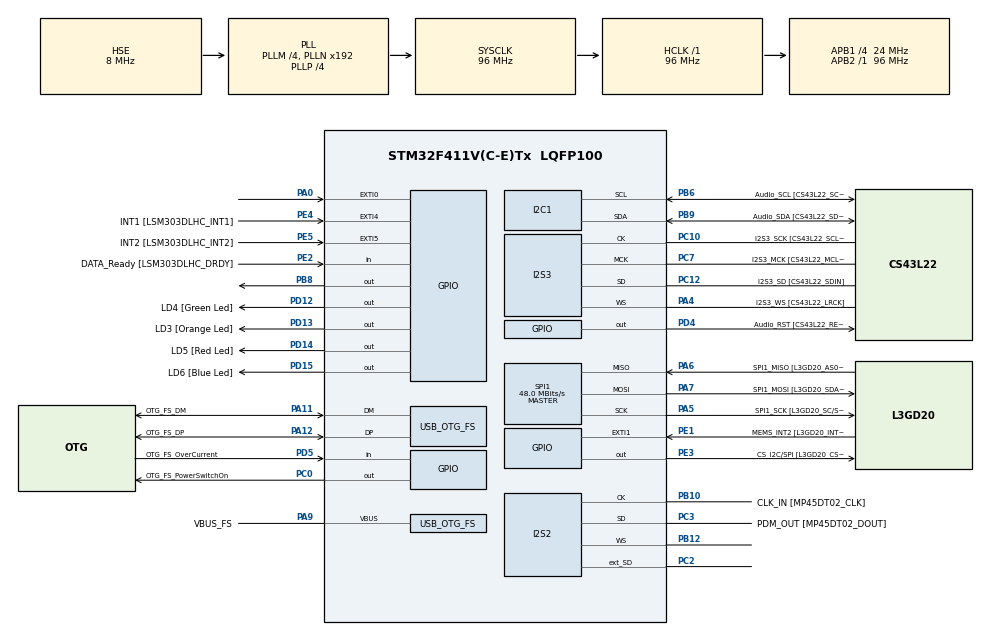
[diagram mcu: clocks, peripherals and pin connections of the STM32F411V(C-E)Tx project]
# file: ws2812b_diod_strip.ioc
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I2S2.AudioFreq=I2S_AUDIOFREQ_96K
I2S2.ErrorAudioFreq=0.15 %
I2S2.FullDuplexMode=I2S_FULLDUPLEXMODE_ENABLE
I2S2.Instance=SPI$Index
I2S2.RealAudioFreq=96.153 KHz
I2S2.VirtualMode=I2S_MODE_MASTER
I2S3.AudioFreq=I2S_AUDIOFREQ_96K
I2S3.ErrorAudioFreq=-6.99 %
I2S3.FullDuplexMode=I2S_FULLDUPLEXMODE_DISABLE
I2S3.Instance=SPI$Index
I2S3.RealAudioFreq=89.285 KHz
I2S3.VirtualMode=I2S_MODE_MASTER
Mcu.Family=STM32F4
Mcu.Name=STM32F411V(C-E)Tx
Mcu.Package=LQFP100
NVIC.OTG_FS_IRQn=true\:0\:0\:false\:false\:true\:true\:true
NVIC.PriorityGroup=NVIC_PRIORITYGROUP_0
PA0-WKUP.GPIO_ModeDefaultEXTI=GPIO_MODE_EVT_RISING
PA0-WKUP.Signal=GPXTI0
PA10.GPIO_Label=OTG_FS_ID
PA10.Signal=USB_OTG_FS_ID
PA11.GPIO_Label=OTG_FS_DM
PA11.Mode=Host_Only
PA11.Signal=USB_OTG_FS_DM
PA12.GPIO_Label=OTG_FS_DP
PA12.Mode=Host_Only
PA12.Signal=USB_OTG_FS_DP
PA13.GPIO_Label=SWDIO
PA13.Mode=Serial_Wire
PA13.Signal=SYS_JTMS-SWDIO
PA14.GPIO_Label=SWCLK
PA14.Mode=Serial_Wire
PA14.Signal=SYS_JTCK-SWCLK
PA4.GPIO_Label=I2S3_WS [CS43L22_LRCK]
PA4.GPIO_Mode=GPIO_MODE_AF_PP
PA4.GPIO_PuPd=GPIO_NOPULL
PA4.GPIO_Speed=GPIO_SPEED_FREQ_LOW
PA4.Mode=Half_Duplex_Master
PA4.Signal=I2S3_WS
PA5.GPIO_Label=SPI1_SCK [L3GD20_SC/SPC]
PA5.Mode=Full_Duplex_Master
PA5.Signal=SPI1_SCK
PA6.GPIO_Label=SPI1_MISO [L3GD20_AS0/SDO]
PA6.Mode=Full_Duplex_Master
PA6.Signal=SPI1_MISO
PA7.GPIO_Label=SPI1_MOSI [L3GD20_SDA/SDI/SDO]
PA7.Mode=Full_Duplex_Master
PA7.Signal=SPI1_MOSI
PA9.GPIO_Label=VBUS_FS
PA9.Mode=Activate_VBUS
PA9.Signal=USB_OTG_FS_VBUS
PB10.GPIO_Label=CLK_IN [MP45DT02_CLK]
PB10.Mode=Full_Duplex_Master
PB10.Signal=I2S2_CK
PB12.Mode=Full_Duplex_Master
PB12.Signal=I2S2_WS
PB3.GPIO_Label=SWO
PB3.Signal=SYS_JTDO-SWO
PB6.GPIO_Label=Audio_SCL [CS43L22_SCL]
PB6.GPIO_Mode=GPIO_MODE_AF_OD
PB6.GPIO_PuPd=GPIO_NOPULL
PB6.GPIO_Speed=GPIO_SPEED_FREQ_LOW
PB6.Mode=I2C
PB6.Signal=I2C1_SCL
PB8.Signal=GPIO_Output
PB9.GPIO_Label=Audio_SDA [CS43L22_SDA]
PB9.GPIO_Mode=GPIO_MODE_AF_OD
PB9.GPIO_PuPd=GPIO_NOPULL
PB9.GPIO_Speed=GPIO_SPEED_FREQ_LOW
PB9.Mode=I2C
PB9.Signal=I2C1_SDA
PC0.GPIO_Label=OTG_FS_PowerSwitchOn
PC0.PinState=GPIO_PIN_SET
PC0.Signal=GPIO_Output
PC10.GPIO_Label=I2S3_SCK [CS43L22_SCLK]
PC10.GPIO_Mode=GPIO_MODE_AF_PP
PC10.GPIO_PuPd=GPIO_NOPULL
PC10.GPIO_Speed=GPIO_SPEED_FREQ_LOW
PC10.Mode=Half_Duplex_Master
PC10.Signal=I2S3_CK
PC12.GPIO_Label=I2S3_SD [CS43L22_SDIN]
PC12.GPIO_Mode=GPIO_MODE_AF_PP
PC12.GPIO_PuPd=GPIO_NOPULL
PC12.GPIO_Speed=GPIO_SPEED_FREQ_LOW
PC12.Mode=Half_Duplex_Master
PC12.Signal=I2S3_SD
PC14-OSC32_IN.GPIO_Label=PC14-OSC32_IN
PC14-OSC32_IN.Mode=LSE-External-Oscillator
PC14-OSC32_IN.Signal=RCC_OSC32_IN
PC15-OSC32_OUT.GPIO_Label=PC15-OSC32_OUT
PC15-OSC32_OUT.Mode=LSE-External-Oscillator
PC15-OSC32_OUT.Signal=RCC_OSC32_OUT
PC2.Mode=Full_Duplex_Master
PC2.Signal=I2S2_ext_SD
PC3.GPIO_Label=PDM_OUT [MP45DT02_DOUT]
PC3.Mode=Full_Duplex_Master
PC3.Signal=I2S2_SD
PC7.GPIO_Label=I2S3_MCK [CS43L22_MCLK]
PC7.GPIO_Mode=GPIO_MODE_AF_PP
PC7.GPIO_PuPd=GPIO_NOPULL
PC7.GPIO_Speed=GPIO_SPEED_FREQ_LOW
PC7.Mode=Master_Clock_Activated
PC7.Signal=I2S3_MCK
PD12.GPIO_Label=LD4 [Green Led]
PD12.GPIO_PuPd=GPIO_NOPULL
PD12.GPIO_Speed=GPIO_SPEED_FREQ_LOW
PD12.Signal=GPIO_Output
PD13.GPIO_Label=LD3 [Orange Led]
PD13.GPIO_PuPd=GPIO_NOPULL
PD13.GPIO_Speed=GPIO_SPEED_FREQ_LOW
PD13.Signal=GPIO_Output
PD14.GPIO_Label=LD5 [Red Led]
PD14.GPIO_PuPd=GPIO_NOPULL
PD14.GPIO_Speed=GPIO_SPEED_FREQ_LOW
PD14.Signal=GPIO_Output
PD15.GPIO_Label=LD6 [Blue Led]
PD15.GPIO_PuPd=GPIO_NOPULL
PD15.GPIO_Speed=GPIO_SPEED_FREQ_LOW
PD15.Signal=GPIO_Output
PD4.GPIO_Label=Audio_RST [CS43L22_RESET]
PD4.Signal=GPIO_Output
PD5.GPIO_Label=OTG_FS_OverCurrent
PD5.Signal=GPIO_Input
PE1.GPIO_Label=MEMS_INT2 [L3GD20_INT2]
PE1.GPIO_ModeDefaultEXTI=GPIO_MODE_EVT_RISING
PE1.Signal=GPXTI1
PE2.GPIO_Label=DATA_Ready [LSM303DLHC_DRDY]
PE2.Signal=GPIO_Input
PE3.GPIO_Label=CS_I2C/SPI [L3GD20_CS_I2C/SPI]
PE3.Signal=GPIO_Output
PE4.GPIO_Label=INT1 [LSM303DLHC_INT1]
PE4.GPIO_ModeDefaultEXTI=GPIO_MODE_EVT_RISING
PE4.Signal=GPXTI4
PE5.GPIO_Label=INT2 [LSM303DLHC_INT2]
PE5.GPIO_ModeDefaultEXTI=GPIO_MODE_EVT_RISING
PE5.Signal=GPXTI5
PH0\ -\ OSC_IN.GPIO_Label=PH0-OSC_IN
PH0\ -\ OSC_IN.Mode=HSE-External-Oscillator
PH0\ -\ OSC_IN.Signal=RCC_OSC_IN
PH1\ -\ OSC_OUT.GPIO_Label=PH1-OSC_OUT
PH1\ -\ OSC_OUT.Mode=HSE-External-Oscillator
PH1\ -\ OSC_OUT.Signal=RCC_OSC_OUT
ProjectManager.HeapSize=0x200
ProjectManager.StackSize=0x400
ProjectManager.TargetToolchain=SW4STM32
RCC.48MHZClocksFreq_Value=48000000
RCC.AHBFreq_Value=96000000
RCC.APB1CLKDivider=RCC_HCLK_DIV4
RCC.APB1Freq_Value=24000000
RCC.APB1TimFreq_Value=48000000
RCC.APB2Freq_Value=96000000
RCC.APB2TimFreq_Value=96000000
RCC.CortexFreq_Value=96000000
RCC.HCLKFreq_Value=96000000
RCC.HSE_VALUE=8000000
RCC.HSI_VALUE=16000000
RCC.PLLI2SM=5
RCC.PLLI2SN=200
RCC.PLLM=4
RCC.PLLP=RCC_PLLP_DIV4
RCC.PLLQ=8
RCC.SYSCLKFreq_VALUE=96000000
RCC.SYSCLKSource=RCC_SYSCLKSOURCE_PLLCLK
RCC.VCOOutputFreq_Value=384000000
SPI1.BaudRatePrescaler=SPI_BAUDRATEPRESCALER_2
SPI1.CalculateBaudRate=48.0 MBits/s
SPI1.Direction=SPI_DIRECTION_2LINES
SPI1.Mode=SPI_MODE_MASTER
SPI1.VirtualType=VM_MASTER
USB_HOST.BSP.number=1
USB_HOST.USBH_HandleTypeDef=hUsbHostFS
USB_HOST.VirtualModeFS=Cdc
USB_HOST0.BSP.STBoard=false
USB_HOST0.BSP.api=Unknown
USB_HOST0.BSP.i2caddr=0
USB_HOST0.BSP.i2creg=0
USB_HOST0.BSP.instance=PC0
USB_HOST0.BSP.ip=GPIO
USB_HOST0.BSP.mode=Output
USB_HOST0.BSP.name=Drive_VBUS_FS
USB_HOST0.BSP.solution=PC0
USB_OTG_FS.VirtualMode=Host_Only
USB_OTG_FS.phy_itface=HCD_PHY_EMBEDDED
VP_USB_HOST_VS_USB_HOST_CDC_FS.Mode=CDC_FS
board=STM32F411E-DISCO

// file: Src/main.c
/**
  ******************************************************************************
  * @file           : main.c
  * @brief          : Main program body
  ******************************************************************************
  * @attention
  *
  * <h2><center>&copy; Copyright (c) 2019 STMicroelectronics.
  * All rights reserved.</center></h2>
  *
  * This software component is licensed by ST under Ultimate Liberty license
  * SLA0044, the "License"; You may not use this file except in compliance with
  * the License. You may obtain a copy of the License at:
  *                             www.st.com/SLA0044
  *
  ******************************************************************************
  */
/* USER CODE END Header */

#include "main.h"
#include "i2c.h"
#include "i2s.h"
#include "spi.h"
#include "usb_host.h"
#include "gpio.h"

/* USER CODE BEGIN Includes */
#include "stdlib.h"
#include "stm32f4xx_hal.h"
#include "../Drivers/STM32F4Discovery/Inc/stm32f411e_discovery_accelerometer.h"
/* USER CODE END Includes */

void SystemClock_Config(void);
void MX_USB_HOST_Process(void);

int main(void)
{
  /* USER CODE BEGIN 1 */
	 extern void initialise_monitor_handles(void);
	 initialise_monitor_handles();
  /* USER CODE END 1 */

  /* MCU Configuration--------------------------------------------------------*/

  /* Reset of all peripherals, Initializes the Flash interface and the Systick. */
  HAL_Init();

  /* Configure the system clock */
  SystemClock_Config();

  /* Initialize all configured peripherals */
  MX_GPIO_Init();
  MX_I2C1_Init();
  MX_I2S2_Init();
  MX_I2S3_Init();
  MX_SPI1_Init();
  MX_USB_HOST_Init();
  /* USER CODE BEGIN 2 */

  volatile uint8_t err_res = BSP_ACCELERO_Init();
    if (err_res != HAL_OK)
    {
      HAL_GPIO_WritePin(GPIOD, GPIO_PIN_14, SET);
      /* Initialization Error */
      while(1){
      }
    }
    void delay_asm(uint32_t useconds) {
    	asm volatile("   mov r0, %[useconds]    \n"
    			"1: subs r0, #1            \n"
    			"   bhi 1b                 \n": :[useconds] "r" (useconds): "r0");
    }

    inline void send_byte(int a) {
    	for (int i = 7; i >= 0; i--) {
    		int x = (a >> i) & 1;
    		if (x == 1) {
    			GPIOB->BSRR = GPIO_PIN_8;
    			delay_asm(20); //high_delay
    			GPIOB->BSRR = (uint32_t) GPIO_PIN_8 << 16U;
    			delay_asm(10); //low delay
    		} else {
    			GPIOB->BSRR = GPIO_PIN_8;
    			delay_asm(10); //low delay
    			GPIOB->BSRR = (uint32_t) GPIO_PIN_8 << 16U;
    			delay_asm(20);//high_delay

    		}
    	}
    }

  /* USER CODE END 2 */

  /* Infinite loop */
  /* USER CODE BEGIN WHILE */
    int16_t buffer[3] = {0};
    int16_t prev_buffer[3] = {0};
    BSP_ACCELERO_GetXYZ(prev_buffer);
    int shaking = 0;
    int change = 0;
    while (1)
    {
     BSP_ACCELERO_GetXYZ(buffer);
     if (abs(buffer[0] - prev_buffer[0]) > 2500 || abs(buffer[1] - prev_buffer[1]) > 2500 || abs(buffer[2] - prev_buffer[2]) > 2500) {
    	 if (!shaking) {
    		 change = 1;
    	 } else {
    		 change = 0;
    	 }
    	 shaking = 1;
     } else {
    	 if (shaking) {
    		 change = -1;
    	 } else {
    		 change = 0;
    	 }
    	 shaking = 0;
     }
     if (change == 1) {
    	 for (int j = 0; j < 60; j++) {
			 for (int i = 0; i < 60; i++) {
											send_byte(0x00 + j);
											send_byte(0x3C - j);
											send_byte(0x00);
					 }
			 HAL_Delay(2);
    	 }
     } else if (change == -1) {
    	 for (int j = 0; j < 60; j++) {
    	 			 for (int i = 0; i < 60; i++) {
    	 											send_byte(0x3C - j);
    	 											send_byte(0x00 + j);
    	 											send_byte(0x00);
    	 					 }
    	 			 HAL_Delay(2);
    	     	 }
     }
     if (shaking) {
		 for (int i = 0; i < 60; i++) {
								send_byte(0x3C);
								send_byte(0x00);
								send_byte(0x00);
		 }
     } else {
    	 for (int i = 0; i < 60; i++) {
    	 						send_byte(0x00);
    	 						send_byte(0x3C);
    	 						send_byte(0x00);
    	 }

     }

     for (int i = 0; i < 3; i++) {
    	 prev_buffer[i] = buffer[i];
     }

     HAL_Delay(300);

    /* USER CODE END WHILE */
    MX_USB_HOST_Process();

}}

void SystemClock_Config(void)
{
  RCC_OscInitTypeDef RCC_OscInitStruct = {0};
  RCC_ClkInitTypeDef RCC_ClkInitStruct = {0};
  RCC_PeriphCLKInitTypeDef PeriphClkInitStruct = {0};

  /** Configure the main internal regulator output voltage
  */
  __HAL_RCC_PWR_CLK_ENABLE();
  __HAL_PWR_VOLTAGESCALING_CONFIG(PWR_REGULATOR_VOLTAGE_SCALE1);
  /** Initializes the CPU, AHB and APB busses clocks
  */
  RCC_OscInitStruct.OscillatorType = RCC_OSCILLATORTYPE_HSE;
  RCC_OscInitStruct.HSEState = RCC_HSE_ON;
  RCC_OscInitStruct.PLL.PLLState = RCC_PLL_ON;
  RCC_OscInitStruct.PLL.PLLSource = RCC_PLLSOURCE_HSE;
  RCC_OscInitStruct.PLL.PLLM = 4;
  RCC_OscInitStruct.PLL.PLLN = 192;
  RCC_OscInitStruct.PLL.PLLP = RCC_PLLP_DIV4;
  RCC_OscInitStruct.PLL.PLLQ = 8;
  if (HAL_RCC_OscConfig(&RCC_OscInitStruct) != HAL_OK)
  {
    Error_Handler();
  }
  /** Initializes the CPU, AHB and APB busses clocks
  */
  RCC_ClkInitStruct.ClockType = RCC_CLOCKTYPE_HCLK|RCC_CLOCKTYPE_SYSCLK
                              |RCC_CLOCKTYPE_PCLK1|RCC_CLOCKTYPE_PCLK2;
  RCC_ClkInitStruct.SYSCLKSource = RCC_SYSCLKSOURCE_PLLCLK;
  RCC_ClkInitStruct.AHBCLKDivider = RCC_SYSCLK_DIV1;
  RCC_ClkInitStruct.APB1CLKDivider = RCC_HCLK_DIV4;
  RCC_ClkInitStruct.APB2CLKDivider = RCC_HCLK_DIV1;

  if (HAL_RCC_ClockConfig(&RCC_ClkInitStruct, FLASH_LATENCY_3) != HAL_OK)
  {
    Error_Handler();
  }
  PeriphClkInitStruct.PeriphClockSelection = RCC_PERIPHCLK_I2S;
  PeriphClkInitStruct.PLLI2S.PLLI2SN = 200;
  PeriphClkInitStruct.PLLI2S.PLLI2SM = 5;
  PeriphClkInitStruct.PLLI2S.PLLI2SR = 2;
  if (HAL_RCCEx_PeriphCLKConfig(&PeriphClkInitStruct) != HAL_OK)
  {
    Error_Handler();
  }
}

void Error_Handler(void)
{
}

/************************ (C) COPYRIGHT STMicroelectronics *****END OF FILE****/
